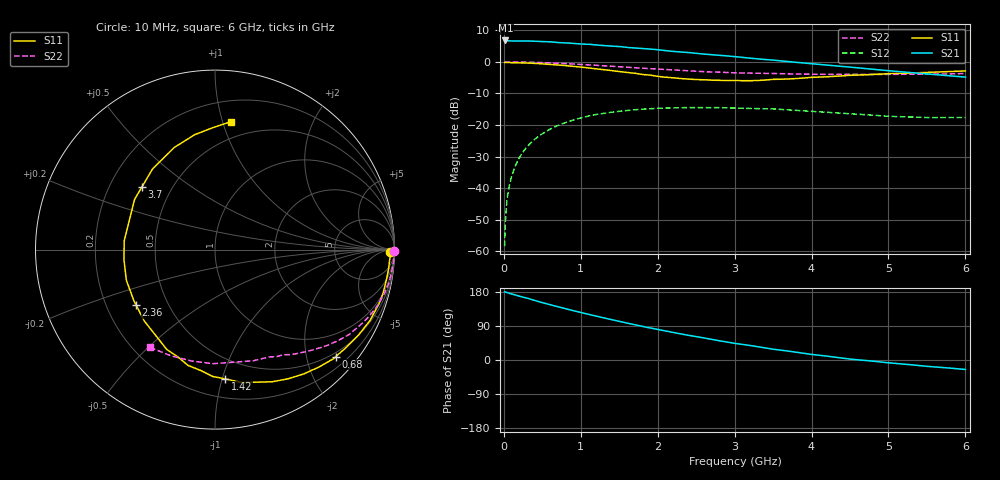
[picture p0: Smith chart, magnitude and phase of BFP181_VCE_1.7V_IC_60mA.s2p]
! Infineon Technologies  Discrete & RF Semiconductors
! BFP181
! VCE = 1.7 V,  IC =  60 mA
! Common Emitter S-Parameters:  Jan 2016
# GHz  S  MA  R  50
!  f  S11  S21  S12  S22
! GHz  MAG  ANG  MAG  ANG  MAG  ANG  MAG  ANG
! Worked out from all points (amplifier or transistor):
!   210 points, 10 MHz to 6 GHz, reference 50 ohm
!   highest |S21| = 6.8 dB at 20 MHz (marker M1)
!   |S21| within 3 dB of that: start of sweep to 2.022 GHz
!   unconditionally stable (mu >= 1): 3.547 GHz to end of sweep
!   at 185 MHz: K = 0.07, MSG = 18.9 dB, |S12| = -31.2 dB
!   at 1.52 GHz: K = 0.48, MSG = 10.2 dB, |S12| = -15.6 dB
!   at 6 GHz: K = 1.41, MAG = 2.6 dB, |S12| = -17.6 dB
!   S11 on the Smith chart (normalised r, x): 10 MHz: 58, -37; 680 MHz: 0.42, -2.58; 1.42 GHz: 0.34, -1.02; 2.36 GHz: 0.33, -0.28; 3.7 GHz: 0.34, +0.33; 6 GHz: 0.36, +1.07
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0.01  0.9756 -0.9  2.172 179.8  0.0012 91.0  0.9991 -0.3
0.02  0.9842 -1.4  2.185 179.5  0.0029 90.4  0.9976 -0.6
0.04  0.9783 -2.4  2.168 178.0  0.0062 89.9  0.9975 -1.2
0.07  0.9742 -4.2  2.153 176.1  0.0107 86.7  0.9978 -2.1
0.12  0.9722 -7.3  2.142 173.3  0.018 83.5  0.9974 -3.5
0.19  0.9683 -11.6  2.147 169.2  0.0285 81.8  0.9944 -5.6
0.4  0.9496 -24.6  2.127 157.1  0.0592 73.2  0.9831 -11.8
0.68  0.8991 -41.5  2.037 141.8  0.0954 61.1  0.9544 -19.6
0.86  0.8592 -52.0  1.978 132.4  0.1155 54.1  0.9306 -24.2
1.02  0.8214 -61.7  1.915 124.5  0.1313 48.3  0.9082 -28.1
1.1  0.8024 -66.6  1.906 120.3  0.1385 45.4  0.8965 -30.0
1.42  0.7219 -85.6  1.77 105.7  0.1602 34.5  0.8476 -37.2
1.8  0.632 -109.2  1.629 88.5  0.1782 24.4  0.7939 -43.9
2.02  0.5855 -123.3  1.548 79.7  0.1842 18.7  0.7663 -47.6
2.36  0.5372 -145.0  1.419 66.6  0.1884 10.6  0.7268 -53.4
2.8  0.5104 -173.6  1.275 50.8  0.1887 2.2  0.6885 -60.0
3.1  0.5033 169.2  1.177 41.2  0.1839 -2.8  0.666 -64.7
3.7  0.5361 139.5  1.009 23.4  0.1736 -10.3  0.6455 -74.8
4.1  0.5736 124.3  0.913 12.5  0.1622 -14.2  0.6349 -82.6
4.5  0.6123 111.8  0.827 2.5  0.1514 -17.1  0.6357 -90.9
5.1  0.6547 98.2  0.707 -9.1  0.1359 -16.2  0.6337 -103.8
6  0.7182 82.9  0.573 -25.0  0.1313 -9.7  0.6544 -123.7
